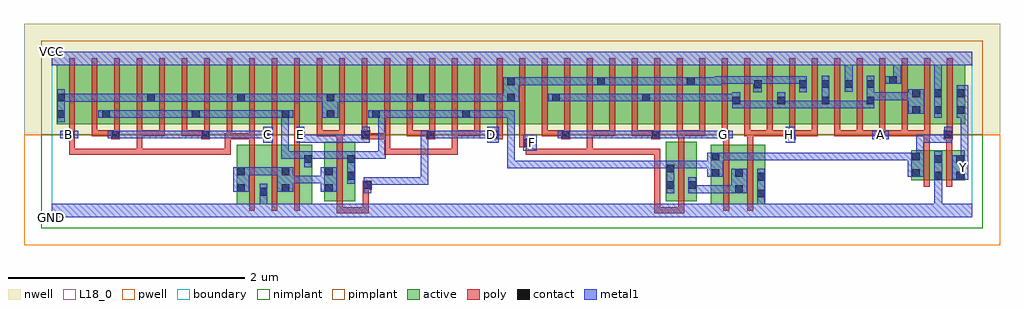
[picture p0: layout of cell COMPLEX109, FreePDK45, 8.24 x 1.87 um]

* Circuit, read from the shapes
.subckt COMPLEX109 A B C D E F G GND H VCC Y
M1 GND B n1 VSUBS nfet w=0.5u l=0.05u
M2 n1 C GND VSUBS nfet w=0.5u l=0.05u
M3 n2 E n1 VSUBS nfet w=0.5u l=0.05u
M4 n2 D n1 VSUBS nfet w=0.5u l=0.05u
M5 n3 F n2 VSUBS nfet w=0.5u l=0.05u
M6 n3 G n2 VSUBS nfet w=0.5u l=0.05u
M7 GND H n3 VSUBS nfet w=0.5u l=0.05u
M8 GND A n2 VSUBS nfet w=0.25u l=0.05u
M9 Y n2 GND VSUBS nfet w=0.25u l=0.05u
M10 n4 B n5 n6 pfet w=0.5u l=0.05u
M11 n2 C n4 n6 pfet w=0.5u l=0.05u
M12 n7 C n2 n6 pfet w=0.5u l=0.05u
M13 n5 B n7 n6 pfet w=0.5u l=0.05u
M14 n8 B n5 n6 pfet w=0.5u l=0.05u
M15 n2 C n8 n6 pfet w=0.5u l=0.05u
M16 n9 C n2 n6 pfet w=0.5u l=0.05u
M17 n5 B n9 n6 pfet w=0.5u l=0.05u
M18 n10 B n5 n6 pfet w=0.5u l=0.05u
M19 n2 C n10 n6 pfet w=0.5u l=0.05u
M20 n11 E n2 n6 pfet w=0.5u l=0.05u
M21 n5 D n11 n6 pfet w=0.5u l=0.05u
M22 n12 D n5 n6 pfet w=0.5u l=0.05u
M23 n2 E n12 n6 pfet w=0.5u l=0.05u
M24 n13 E n2 n6 pfet w=0.5u l=0.05u
M25 n5 D n13 n6 pfet w=0.5u l=0.05u
M26 n14 D n5 n6 pfet w=0.5u l=0.05u
M27 n2 E n14 n6 pfet w=0.5u l=0.05u
M28 n15 E n2 n6 pfet w=0.5u l=0.05u
M29 n5 D n15 n6 pfet w=0.5u l=0.05u
M30 n16 F n5 n6 pfet w=0.5u l=0.05u
M31 n17 G n16 n6 pfet w=0.5u l=0.05u
M32 n18 G n17 n6 pfet w=0.5u l=0.05u
M33 n5 F n18 n6 pfet w=0.5u l=0.05u
M34 n19 F n5 n6 pfet w=0.5u l=0.05u
M35 n17 G n19 n6 pfet w=0.5u l=0.05u
M36 n20 G n17 n6 pfet w=0.5u l=0.05u
M37 n5 F n20 n6 pfet w=0.5u l=0.05u
M38 n21 F n5 n6 pfet w=0.5u l=0.05u
M39 n17 G n21 n6 pfet w=0.5u l=0.05u
M40 n5 H n17 n6 pfet w=0.5u l=0.05u m=4
M41 VCC A n17 n6 pfet w=0.5u l=0.05u m=5
M42 Y n2 VCC n6 pfet w=0.5u l=0.05u
.ends

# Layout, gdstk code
import gdstk
lib = gdstk.Library(unit=1e-6, precision=1e-09)
def R(c, l, rs):  # rectangles x0, y0, x1, y1
    for r in rs: c.add(gdstk.rectangle(r[:2], r[2:], *l))
def A(c, l, x, y, w, h, nx, ny, dx, dy):  # array of equal rectangles
    R(c, l, [(x+i*dx, y+j*dy, x+i*dx+w, y+j*dy+h) for i in range(nx) for j in range(ny)])
active = (1, 0)
pwell = (2, 0)
nwell = (3, 0)
nimplant = (4, 0)
pimplant = (5, 0)
poly = (9, 0)
contact = (10, 0)
metal1 = (11, 0)
L18_0 = (18, 0)
boundary = (235, 0)

complex109 = lib.new_cell('COMPLEX109')
A(complex109, active, 0.04, 0.787, 0.225, 0.5, 3, 1, 0.38, 0)
A(complex109, active, 2.7, 0.787, 0.075, 0.283, 5, 1, 0.76, 0)
A(complex109, active, 3.305, 0.787, 0.23, 0.5, 5, 1, 0.38, 0)
A(complex109, active, 3.46, 0.787, 0.225, 0.5, 5, 1, 0.38, 0)
A(complex109, active, 5.925, 0.787, 0.27, 0.5, 3, 1, 0.57, 0)
A(complex109, active, 6.12, 0.787, 0.26, 0.5, 3, 1, 0.57, 0)
A(complex109, active, 6.305, 0.787, 0.265, 0.5, 3, 1, 0.57, 0)
R(complex109, active, [(1.56,0.112,1.825,0.612), (1.75,0.112,2.01,0.612), (1.935,0.112,2.2,0.612), (5.565,0.112,5.84,0.612), (5.765,0.112,6.025,0.612), (5.95,0.112,6.025,0.612), (2.302,0.137,2.562,0.637), (5.185,0.137,5.445,0.637), (1.56,0.145,1.635,0.612), (1.75,0.145,1.825,0.592), (1.935,0.145,2.01,0.592), (2.125,0.145,2.2,0.612), (2.302,0.145,2.377,0.637), (2.487,0.145,2.562,0.637), (5.185,0.145,5.26,0.637), (5.37,0.145,5.445,0.637), (5.565,0.145,5.64,0.612), (5.765,0.145,5.84,0.592), (7.257,0.315,7.332,0.565), (7.257,0.315,7.522,0.565), (7.447,0.315,7.522,0.565), (7.447,0.315,7.707,0.565), (7.632,0.315,7.707,0.565), (0.04,0.787,0.145,1.2), (0.265,0.787,0.495,1.287), (0.42,0.787,0.495,1.07), (0.645,0.787,0.875,1.287), (1.025,0.787,1.252,1.287), (1.177,0.787,1.252,1.07), (1.177,0.787,1.405,1.287), (1.405,0.787,1.635,1.287), (1.56,0.787,1.785,1.287), (1.785,0.787,2.01,1.287), (1.935,0.787,2.01,1.07), (1.935,0.787,2.165,1.287), (2.165,0.787,2.39,1.287), (2.315,0.787,2.39,1.2), (2.315,0.787,2.545,1.287), (2.545,0.787,2.775,1.287), (2.7,0.787,2.925,1.287), (2.925,0.787,3.15,1.287), (3.075,0.787,3.15,1.2), (3.075,0.787,3.305,1.287), (3.84,0.787,3.915,1.2), (4.6,0.787,4.675,1.2), (5.205,0.787,5.432,1.287), (5.357,0.787,5.432,1.2), (5.357,0.787,5.585,1.287), (5.585,0.787,5.815,1.287), (5.74,0.787,6,1.287), (5.925,0.787,6,1.2), (6.12,0.787,6.195,1.07), (6.305,0.787,6.38,1.2), (6.495,0.787,6.57,1.2), (6.69,0.787,6.765,1.255), (6.875,0.787,6.95,1.2), (7.065,0.787,7.14,1.255), (7.26,0.787,7.335,1.2), (7.445,0.787,7.52,1.255), (7.635,0.787,7.71,1.2), (0.8,0.807,0.875,1.2), (1.56,0.807,1.635,1.2)])
R(complex109, pwell, [(-0.235,-0.235,8.005,0.7)])
R(complex109, nwell, [(-0.235,0.7,8.005,1.635)])
R(complex109, nimplant, [(-0.09,-0.09,7.86,0.7)])
R(complex109, pimplant, [(-0.09,0.7,7.86,1.49)])
A(complex109, poly, 1.665, 0.057, 0.05, 0.61, 3, 1, 0.19, 0)
A(complex109, poly, 1.665, 0.617, 0.05, 0.095, 3, 1, 0.19, 0)
A(complex109, poly, 0.145, 0.687, 0.05, 0.095, 7, 1, 0.19, 0)
A(complex109, poly, 1.855, 0.687, 0.05, 0.095, 5, 1, 0.19, 0)
A(complex109, poly, 2.995, 0.687, 0.05, 0.095, 5, 1, 0.19, 0)
A(complex109, poly, 4.135, 0.687, 0.05, 0.095, 19, 1, 0.19, 0)
A(complex109, poly, 0.145, 0.732, 0.05, 0.61, 40, 1, 0.19, 0)
R(complex109, poly, [(2.407,0.037,2.457,0.132), (2.407,0.037,2.457,0.087), (2.407,0.037,2.677,0.087), (2.627,0.037,2.677,0.087), (2.627,0.037,2.677,0.087), (2.627,0.037,2.677,0.087), (2.627,0.037,2.677,0.087), (2.627,0.037,2.677,0.087), (2.627,0.037,2.677,0.285), (5.085,0.037,5.135,0.087), (5.085,0.037,5.34,0.087), (5.085,0.037,5.135,0.58), (5.29,0.037,5.34,0.132), (5.29,0.037,5.34,0.087), (5.29,0.037,5.34,0.087), (5.29,0.037,5.34,0.087), (5.67,0.057,5.72,0.667), (5.87,0.057,5.92,0.667), (2.407,0.082,2.457,0.692), (5.29,0.082,5.34,0.692), (2.627,0.235,2.702,0.31), (7.362,0.26,7.412,0.62), (7.552,0.26,7.602,0.62), (0.145,0.53,0.195,0.58), (0.145,0.53,0.195,0.58), (0.145,0.53,0.195,0.58), (0.145,0.53,0.327,0.58), (0.145,0.53,0.195,0.712), (0.277,0.53,0.327,0.58), (0.277,0.53,0.327,0.58), (0.277,0.53,0.327,0.58), (0.277,0.53,0.632,0.58), (0.582,0.53,0.632,0.58), (0.582,0.53,0.632,0.58), (0.582,0.53,0.632,0.58), (0.582,0.53,0.765,0.58), (0.715,0.53,0.765,0.58), (0.715,0.53,0.897,0.58), (0.715,0.53,0.765,0.737), (0.847,0.53,0.897,0.58), (0.847,0.53,0.897,0.58), (0.847,0.53,0.897,0.58), (0.847,0.53,1.087,0.58), (1.037,0.53,1.087,0.58), (1.037,0.53,1.087,0.58), (1.037,0.53,1.087,0.58), (1.037,0.53,1.375,0.58), (1.325,0.53,1.375,0.58), (1.325,0.53,1.375,0.58), (1.325,0.53,1.375,0.58), (1.325,0.53,1.51,0.58), (1.46,0.53,1.51,0.58), (1.46,0.53,1.51,0.58), (1.46,0.53,1.51,0.58), (1.46,0.53,1.51,0.712), (2.805,0.53,2.855,0.58), (2.805,0.53,3.045,0.58), (2.805,0.53,2.855,0.712), (2.995,0.53,3.045,0.58), (2.995,0.53,3.045,0.58), (2.995,0.53,3.045,0.58), (2.995,0.53,3.177,0.58), (3.127,0.53,3.177,0.58), (3.127,0.53,3.177,0.58), (3.127,0.53,3.177,0.58), (3.127,0.53,3.425,0.58), (3.375,0.53,3.425,0.58), (3.375,0.53,3.425,0.58), (3.375,0.53,3.425,0.58), (3.375,0.53,3.425,0.58), (3.375,0.53,3.425,0.58), (3.375,0.53,3.425,0.737), (4.002,0.53,4.052,0.58), (4.002,0.53,4.185,0.58), (4.002,0.53,4.052,0.642), (4.135,0.53,4.185,0.58), (4.135,0.53,4.185,0.58), (4.135,0.53,4.185,0.58), (4.135,0.53,4.432,0.58), (4.382,0.53,4.432,0.58), (4.382,0.53,4.432,0.58), (4.382,0.53,4.432,0.58), (4.382,0.53,4.565,0.58), (4.515,0.53,4.565,0.58), (4.515,0.53,4.565,0.58), (4.515,0.53,4.565,0.58), (4.515,0.53,4.565,0.58), (4.515,0.53,4.565,0.58), (4.515,0.53,4.755,0.58), (4.515,0.53,4.565,0.737), (4.705,0.53,4.755,0.58), (4.705,0.53,4.755,0.58), (4.705,0.53,4.755,0.58), (4.705,0.53,4.887,0.58), (4.837,0.53,4.887,0.58), (4.837,0.53,4.887,0.58), (4.837,0.53,4.887,0.58), (4.837,0.53,5.135,0.58), (5.085,0.53,5.135,0.58), (5.085,0.53,5.135,0.58), (5.085,0.53,5.135,0.58), (5.085,0.53,5.135,0.58), (5.085,0.53,5.135,0.58), (7.362,0.57,7.412,0.737), (7.552,0.57,7.602,0.712), (3.945,0.592,4.052,0.667), (4.002,0.592,4.052,0.642), (4.002,0.592,4.052,0.642), (3.945,0.617,3.995,0.782), (5.67,0.617,5.72,0.712), (5.87,0.617,5.92,0.737), (2.407,0.642,2.457,0.737), (5.29,0.642,5.34,0.737), (0.12,0.662,0.195,0.737), (0.145,0.662,0.195,0.712), (0.145,0.662,0.195,0.712), (0.5,0.662,0.575,0.737), (1.26,0.662,1.335,0.737), (1.46,0.662,1.51,0.712), (1.46,0.662,1.51,0.712), (1.46,0.662,1.525,0.712), (1.475,0.662,1.715,0.712), (1.475,0.662,1.525,0.782), (1.665,0.662,1.715,0.712), (1.665,0.662,1.715,0.712), (1.665,0.662,1.715,0.712), (1.665,0.662,1.715,0.782), (1.797,0.662,1.905,0.737), (2.045,0.662,2.137,0.737), (2.612,0.662,2.687,0.737), (2.637,0.662,2.855,0.712), (2.805,0.662,2.855,0.712), (2.805,0.662,2.855,0.712), (2.805,0.662,2.855,0.712), (2.805,0.662,2.855,0.712), (2.805,0.662,2.855,0.712), (2.805,0.662,2.855,0.782), (3.16,0.662,3.235,0.737), (3.702,0.662,3.805,0.737), (4.3,0.662,4.375,0.737), (5.06,0.662,5.135,0.737), (5.645,0.662,5.72,0.737), (6.205,0.662,6.28,0.737), (6.96,0.662,7.035,0.737), (7.53,0.662,7.605,0.737), (0.335,0.687,0.385,0.737), (0.335,0.687,0.385,0.737), (0.335,0.687,0.385,0.737), (0.335,0.687,0.55,0.737), (0.715,0.687,0.765,0.737), (0.715,0.687,0.765,0.737), (0.715,0.687,0.765,0.737), (0.715,0.687,0.955,0.737), (0.905,0.687,0.955,0.737), (0.905,0.687,0.955,0.737), (0.905,0.687,0.955,0.737), (1.095,0.687,1.145,0.737), (1.095,0.687,1.31,0.737), (1.26,0.687,1.31,0.737), (1.26,0.687,1.31,0.737), (2.235,0.687,2.285,0.737), (2.235,0.687,2.457,0.737), (2.407,0.687,2.457,0.737), (2.407,0.687,2.457,0.737), (2.407,0.687,2.475,0.737), (2.995,0.687,3.045,0.737), (2.995,0.687,3.21,0.737), (3.16,0.687,3.21,0.737), (3.16,0.687,3.21,0.737), (3.375,0.687,3.425,0.737), (3.375,0.687,3.615,0.737), (3.565,0.687,3.615,0.737), (3.565,0.687,3.615,0.737), (3.565,0.687,3.615,0.737), (4.135,0.687,4.185,0.737), (4.135,0.687,4.35,0.737), (4.3,0.687,4.35,0.737), (4.3,0.687,4.35,0.737), (4.515,0.687,4.565,0.737), (4.515,0.687,4.565,0.737), (4.515,0.687,4.565,0.737), (4.515,0.687,4.755,0.737), (4.705,0.687,4.755,0.737), (4.705,0.687,4.755,0.737), (4.705,0.687,4.755,0.737), (4.895,0.687,4.945,0.737), (4.895,0.687,5.11,0.737), (5.06,0.687,5.11,0.737), (5.06,0.687,5.11,0.737), (5.275,0.687,5.34,0.737), (5.29,0.687,5.515,0.737), (5.465,0.687,5.515,0.737), (5.465,0.687,5.515,0.737), (5.465,0.687,5.515,0.737), (5.845,0.687,5.92,0.737), (5.87,0.687,5.92,0.737), (5.87,0.687,5.92,0.737), (5.87,0.687,6.085,0.737), (6.035,0.687,6.085,0.737), (6.035,0.687,6.085,0.737), (6.035,0.687,6.085,0.737), (6.035,0.687,6.255,0.737), (6.23,0.687,6.28,0.737), (6.23,0.687,6.28,0.737), (6.23,0.687,6.465,0.737), (6.415,0.687,6.465,0.737), (6.605,0.687,6.655,0.737), (6.605,0.687,6.655,0.737), (6.605,0.687,6.655,0.737), (6.605,0.687,6.845,0.737), (6.795,0.687,6.845,0.737), (6.795,0.687,6.845,0.737), (6.795,0.687,6.845,0.737), (6.795,0.687,7.01,0.737), (6.985,0.687,7.225,0.737), (7.175,0.687,7.225,0.737), (7.175,0.687,7.225,0.737), (7.175,0.687,7.225,0.737), (7.175,0.687,7.412,0.737), (7.362,0.687,7.412,0.737), (7.362,0.687,7.412,0.737), (7.362,0.687,7.415,0.737)])
R(complex109, contact, [(5.955,0.17,6.02,0.235), (1.755,0.185,1.82,0.25), (5.77,0.205,5.835,0.27), (1.565,0.217,1.63,0.282), (1.94,0.217,2.005,0.282), (2.307,0.217,2.372,0.282), (2.632,0.24,2.697,0.305), (5.19,0.24,5.255,0.305), (5.375,0.24,5.44,0.305), (5.955,0.31,6.02,0.375), (2.492,0.32,2.557,0.385), (7.452,0.32,7.517,0.385), (7.637,0.32,7.702,0.385), (5.57,0.342,5.635,0.407), (7.262,0.342,7.327,0.407), (5.77,0.345,5.835,0.41), (1.565,0.357,1.63,0.422), (1.94,0.357,2.005,0.422), (2.307,0.357,2.372,0.422), (5.19,0.38,5.255,0.445), (2.13,0.46,2.195,0.525), (2.492,0.46,2.557,0.525), (7.452,0.46,7.517,0.525), (7.637,0.46,7.702,0.525), (5.57,0.482,5.635,0.547), (7.262,0.482,7.327,0.547), (3.982,0.597,4.047,0.662), (0.125,0.667,0.19,0.732), (0.505,0.667,0.57,0.732), (1.265,0.667,1.33,0.732), (1.802,0.667,1.867,0.732), (2.067,0.667,2.132,0.732), (2.617,0.667,2.682,0.732), (3.165,0.667,3.23,0.732), (3.707,0.667,3.772,0.732), (4.305,0.667,4.37,0.732), (5.065,0.667,5.13,0.732), (5.65,0.667,5.715,0.732), (6.21,0.667,6.275,0.732), (6.965,0.667,7.03,0.732), (7.535,0.667,7.6,0.732), (0.045,0.84,0.11,0.905), (0.425,0.84,0.49,0.905), (1.182,0.84,1.247,0.905), (1.94,0.84,2.005,0.905), (2.32,0.84,2.385,0.905), (2.705,0.84,2.77,0.905), (3.465,0.84,3.53,0.905), (7.265,0.875,7.33,0.94), (7.45,0.875,7.515,0.94), (7.64,0.875,7.705,0.94), (5.745,0.955,5.81,1.02), (6.125,0.955,6.19,1.02), (6.5,0.955,6.565,1.02), (6.88,0.955,6.945,1.02), (0.805,0.977,0.87,1.042), (1.565,0.977,1.63,1.042), (3.08,0.977,3.145,1.042), (3.845,0.977,3.91,1.042), (0.045,0.98,0.11,1.045), (2.32,0.98,2.385,1.045), (4.225,0.98,4.29,1.045), (4.985,0.98,5.05,1.045), (7.265,1.015,7.33,1.08), (7.45,1.015,7.515,1.08), (7.64,1.015,7.705,1.08), (5.93,1.092,5.995,1.157), (6.31,1.092,6.375,1.157), (6.5,1.095,6.565,1.16), (6.695,1.095,6.76,1.16), (6.88,1.095,6.945,1.16), (3.845,1.117,3.91,1.182), (4.605,1.117,4.67,1.182), (5.362,1.117,5.427,1.182), (7.07,1.127,7.135,1.192)])
A(complex109, metal1, 0.46, 0.84, 0.202, 0.065, 3, 1, 0.275, 0)
A(complex109, metal1, 1.217, 0.84, 0.203, 0.065, 3, 1, 0.275, 0)
R(complex109, metal1, [(0,0,7.77,0.115), (1.755,0.05,1.82,0.215), (5.955,0.05,6.02,0.2), (7.452,0.05,7.517,0.115), (7.452,0.05,7.517,0.115), (7.452,0.05,7.517,0.115), (7.452,0.05,7.517,0.115), (7.452,0.05,7.517,0.115), (7.452,0.05,7.517,0.115), (7.452,0.05,7.517,0.35), (5.955,0.135,6.02,0.2), (5.955,0.135,6.02,0.2), (5.955,0.135,6.02,0.41), (1.755,0.15,1.82,0.215), (1.755,0.15,1.82,0.215), (1.755,0.15,1.82,0.285), (2.632,0.205,2.697,0.34), (5.19,0.205,5.255,0.48), (5.375,0.205,5.44,0.27), (5.375,0.205,5.44,0.27), (5.375,0.205,5.44,0.34), (5.375,0.205,5.6,0.27), (5.535,0.205,5.6,0.27), (5.535,0.205,5.6,0.27), (5.535,0.205,5.6,0.27), (5.535,0.205,5.8,0.27), (5.735,0.205,5.87,0.41), (1.53,0.217,1.665,0.422), (1.905,0.217,2.04,0.422), (2.272,0.217,2.407,0.422), (2.632,0.275,2.697,0.34), (2.632,0.275,2.697,0.34), (2.632,0.275,2.697,0.34), (2.632,0.275,2.697,0.34), (2.632,0.275,2.837,0.34), (2.772,0.275,2.837,0.34), (2.772,0.275,2.957,0.34), (2.892,0.275,2.957,0.34), (2.892,0.275,3.057,0.34), (2.992,0.275,3.057,0.34), (2.992,0.275,3.18,0.34), (3.115,0.275,3.18,0.34), (3.115,0.275,3.18,0.732), (2.492,0.285,2.557,0.56), (7.452,0.285,7.517,0.56), (1.975,0.287,2.04,0.352), (1.975,0.287,2.04,0.352), (1.975,0.287,2.2,0.352), (2.135,0.287,2.2,0.352), (2.135,0.287,2.337,0.352), (2.272,0.287,2.337,0.352), (2.272,0.287,2.337,0.352), (7.602,0.32,7.737,0.525), (5.535,0.342,5.67,0.547), (7.227,0.342,7.362,0.547), (1.6,0.357,1.695,0.422), (1.63,0.357,1.695,0.422), (1.63,0.357,1.832,0.422), (1.767,0.357,1.832,0.422), (1.767,0.357,1.832,0.422), (1.767,0.357,1.832,0.422), (1.767,0.357,1.97,0.422), (3.845,0.415,3.91,0.48), (3.845,0.415,3.91,0.48), (3.845,0.415,3.91,0.48), (3.845,0.415,3.91,0.48), (3.845,0.415,3.91,0.48), (3.845,0.415,4.117,0.48), (3.845,0.415,3.91,0.905), (4.052,0.415,4.117,0.48), (4.052,0.415,4.117,0.48), (4.052,0.415,4.117,0.48), (4.052,0.415,4.325,0.48), (4.26,0.415,4.325,0.48), (4.26,0.415,4.325,0.48), (4.26,0.415,4.325,0.48), (4.26,0.415,4.497,0.48), (4.432,0.415,4.497,0.48), (4.432,0.415,4.635,0.48), (4.57,0.415,4.635,0.48), (4.57,0.415,4.635,0.48), (4.57,0.415,4.635,0.48), (4.57,0.415,4.772,0.48), (4.707,0.415,4.772,0.48), (4.707,0.415,4.842,0.48), (4.777,0.415,4.842,0.48), (4.777,0.415,4.947,0.48), (4.882,0.415,4.947,0.48), (4.882,0.415,5.085,0.48), (5.02,0.415,5.085,0.48), (5.02,0.415,5.085,0.48), (5.02,0.415,5.085,0.48), (5.02,0.415,5.255,0.48), (5.19,0.415,5.302,0.48), (5.237,0.415,5.302,0.48), (5.237,0.415,5.462,0.48), (5.397,0.415,5.462,0.48), (5.397,0.415,5.462,0.48), (5.397,0.415,5.462,0.48), (5.397,0.415,5.6,0.48), (2.13,0.425,2.195,0.56), (7.672,0.46,7.737,0.905), (5.605,0.482,5.67,0.547), (5.605,0.482,5.67,0.547), (5.605,0.482,5.807,0.547), (5.742,0.482,5.807,0.547), (5.742,0.482,5.987,0.547), (5.922,0.482,5.987,0.547), (5.922,0.482,5.987,0.547), (5.922,0.482,5.987,0.547), (5.922,0.482,6.125,0.547), (6.06,0.482,6.125,0.547), (6.06,0.482,6.157,0.547), (6.092,0.482,6.157,0.547), (6.092,0.482,6.29,0.547), (6.225,0.482,6.29,0.547), (6.225,0.482,6.427,0.547), (6.362,0.482,6.427,0.547), (6.362,0.482,6.427,0.547), (6.362,0.482,6.427,0.547), (6.362,0.482,6.565,0.547), (6.5,0.482,6.565,0.547), (6.5,0.482,6.565,0.547), (6.5,0.482,6.565,0.547), (6.5,0.482,6.702,0.547), (6.637,0.482,6.702,0.547), (6.637,0.482,6.702,0.547), (6.637,0.482,6.702,0.547), (6.637,0.482,6.962,0.547), (6.897,0.482,6.962,0.547), (6.897,0.482,6.962,0.547), (6.897,0.482,6.962,0.547), (6.897,0.482,7.155,0.547), (7.09,0.482,7.155,0.547), (7.09,0.482,7.292,0.547), (7.227,0.482,7.292,0.547), (7.227,0.482,7.292,0.547), (7.297,0.482,7.362,0.697), (1.935,0.495,2,0.56), (1.935,0.495,2,0.56), (1.935,0.495,2,0.56), (1.935,0.495,2,0.905), (1.935,0.495,2.195,0.56), (2.13,0.495,2.195,0.56), (2.13,0.495,2.195,0.56), (2.13,0.495,2.337,0.56), (2.272,0.495,2.337,0.56), (2.272,0.495,2.337,0.56), (2.272,0.495,2.337,0.56), (2.272,0.495,2.542,0.56), (2.477,0.495,2.542,0.56), (2.477,0.495,2.557,0.56), (2.492,0.495,2.68,0.56), (2.615,0.495,2.68,0.56), (2.615,0.495,2.82,0.56), (2.755,0.495,2.82,0.56), (2.755,0.495,2.82,0.905), (3.982,0.562,4.092,0.697), (1.787,0.632,1.867,0.767), (2.067,0.632,2.132,0.767), (2.067,0.632,2.177,0.697), (2.112,0.632,2.177,0.697), (2.112,0.632,2.35,0.697), (2.285,0.632,2.35,0.697), (2.285,0.632,2.35,0.697), (2.285,0.632,2.35,0.697), (2.285,0.632,2.487,0.697), (2.422,0.632,2.487,0.697), (2.422,0.632,2.56,0.697), (2.495,0.632,2.56,0.697), (2.495,0.632,2.682,0.697), (2.617,0.632,2.682,0.767), (3.677,0.632,3.772,0.767), (6.197,0.632,6.277,0.767), (7.297,0.632,7.362,0.697), (7.297,0.632,7.462,0.697), (7.397,0.632,7.462,0.697), (7.397,0.632,7.502,0.697), (7.437,0.632,7.502,0.697), (7.437,0.632,7.6,0.697), (7.535,0.632,7.6,0.767), (6.925,0.66,7.067,0.732), (0.07,0.667,0.225,0.732), (0.47,0.667,0.605,0.732), (0.54,0.667,0.662,0.732), (0.597,0.667,0.662,0.732), (0.597,0.667,0.8,0.732), (0.735,0.667,0.8,0.732), (0.735,0.667,0.8,0.732), (0.735,0.667,0.8,0.732), (0.735,0.667,0.937,0.732), (0.872,0.667,0.937,0.732), (0.872,0.667,1.075,0.732), (1.01,0.667,1.075,0.732), (1.01,0.667,1.075,0.732), (1.01,0.667,1.075,0.732), (1.01,0.667,1.282,0.732), (1.217,0.667,1.282,0.732), (1.217,0.667,1.295,0.732), (1.23,0.667,1.365,0.732), (1.3,0.667,1.42,0.732), (1.355,0.667,1.42,0.732), (1.355,0.667,1.557,0.732), (1.492,0.667,1.557,0.732), (1.492,0.667,1.557,0.732), (1.492,0.667,1.557,0.732), (1.492,0.667,1.695,0.732), (1.63,0.667,1.695,0.732), (1.63,0.667,1.832,0.732), (1.767,0.667,1.832,0.732), (1.767,0.667,1.852,0.732), (3.115,0.667,3.18,0.732), (3.115,0.667,3.18,0.732), (3.115,0.667,3.18,0.732), (3.115,0.667,3.195,0.732), (3.13,0.667,3.265,0.732), (3.2,0.667,3.325,0.732), (3.26,0.667,3.325,0.732), (3.26,0.667,3.462,0.732), (3.397,0.667,3.462,0.732), (3.397,0.667,3.6,0.732), (3.535,0.667,3.6,0.732), (3.535,0.667,3.6,0.732), (3.535,0.667,3.6,0.732), (3.535,0.667,3.737,0.732), (3.672,0.667,3.737,0.732), (3.672,0.667,3.742,0.732), (4.27,0.667,4.405,0.732), (4.34,0.667,4.497,0.732), (4.432,0.667,4.497,0.732), (4.432,0.667,4.635,0.732), (4.57,0.667,4.635,0.732), (4.57,0.667,4.635,0.732), (4.57,0.667,4.635,0.732), (4.57,0.667,4.772,0.732), (4.707,0.667,4.772,0.732), (4.707,0.667,4.877,0.732), (4.812,0.667,4.877,0.732), (4.812,0.667,4.947,0.732), (4.882,0.667,4.947,0.732), (4.882,0.667,5.095,0.732), (5.03,0.667,5.095,0.732), (5.03,0.667,5.095,0.732), (5.03,0.667,5.165,0.732), (5.1,0.667,5.255,0.732), (5.19,0.667,5.255,0.732), (5.19,0.667,5.302,0.732), (5.237,0.667,5.302,0.732), (5.237,0.667,5.462,0.732), (5.397,0.667,5.462,0.732), (5.397,0.667,5.462,0.732), (5.397,0.667,5.462,0.732), (5.397,0.667,5.662,0.732), (5.597,0.667,5.662,0.732), (5.597,0.667,5.667,0.732), (5.602,0.667,5.75,0.732), (0.045,0.805,0.11,1.08), (0.39,0.84,0.525,0.905), (0.46,0.84,0.525,0.905), (0.46,0.84,0.525,0.905), (0.597,0.84,0.662,0.905), (0.597,0.84,0.8,0.905), (0.735,0.84,0.8,0.905), (0.872,0.84,0.937,0.905), (0.872,0.84,0.937,0.905), (0.872,0.84,0.937,0.905), (0.872,0.84,1.075,0.905), (1.01,0.84,1.075,0.905), (1.01,0.84,1.075,0.905), (1.01,0.84,1.075,0.905), (1.147,0.84,1.282,0.905), (1.217,0.84,1.282,0.905), (1.217,0.84,1.282,0.905), (1.355,0.84,1.42,0.905), (1.355,0.84,1.557,0.905), (1.492,0.84,1.557,0.905), (1.492,0.84,1.557,0.905), (1.492,0.84,1.557,0.905), (1.63,0.84,1.695,0.905), (1.63,0.84,1.832,0.905), (1.767,0.84,1.832,0.905), (1.767,0.84,1.832,0.905), (1.767,0.84,1.832,0.905), (1.905,0.84,2.04,0.905), (1.935,0.84,2,0.905), (1.935,0.84,2,0.905), (2.285,0.84,2.42,1.045), (2.67,0.84,2.82,0.905), (2.755,0.84,2.82,0.905), (2.755,0.84,2.82,0.905), (2.755,0.84,2.835,0.905), (2.77,0.84,2.835,0.905), (2.77,0.84,2.957,0.905), (2.892,0.84,2.957,0.905), (2.892,0.84,3.057,0.905), (2.992,0.84,3.057,0.905), (2.992,0.84,3.11,0.905), (3.045,0.84,3.11,0.905), (3.045,0.84,3.317,0.905), (3.252,0.84,3.317,0.905), (3.252,0.84,3.317,0.905), (3.252,0.84,3.317,0.905), (3.252,0.84,3.462,0.905), (3.397,0.84,3.462,0.905), (3.397,0.84,3.495,0.905), (3.43,0.84,3.565,0.905), (3.5,0.84,3.6,0.905), (3.535,0.84,3.6,0.905), (3.535,0.84,3.737,0.905), (3.672,0.84,3.737,0.905), (3.672,0.84,3.737,0.905), (3.672,0.84,3.737,0.905), (3.672,0.84,3.91,0.905), (3.845,0.84,3.91,0.905), (7.45,0.84,7.515,1.115), (7.64,0.84,7.737,1.115), (7.672,0.84,7.737,0.905), (7.672,0.84,7.737,0.905), (7.672,0.84,7.737,0.905), (7.672,0.84,7.737,0.905), (7.23,0.875,7.365,1.08), (5.745,0.92,5.81,1.055), (5.745,0.92,5.947,0.985), (5.882,0.92,5.947,0.985), (5.882,0.92,5.947,0.985), (5.882,0.92,5.947,0.985), (5.882,0.92,6.125,0.985), (6.06,0.92,6.125,0.985), (6.06,0.92,6.19,0.985), (6.125,0.92,6.19,1.055), (6.125,0.92,6.262,0.985), (6.197,0.92,6.262,0.985), (6.197,0.92,6.427,0.985), (6.362,0.92,6.427,0.985), (6.362,0.92,6.427,0.985), (6.362,0.92,6.427,0.985), (6.362,0.92,6.565,0.985), (6.5,0.92,6.565,0.985), (6.5,0.92,6.565,0.985), (6.5,0.92,6.565,1.195), (6.5,0.92,6.807,0.985), (6.742,0.92,6.807,0.985), (6.742,0.92,6.807,0.985), (6.742,0.92,6.807,0.985), (6.742,0.92,6.945,0.985), (6.88,0.92,6.945,1.195), (0.045,0.977,0.11,1.042), (0.045,0.977,0.11,1.042), (0.045,0.977,0.247,1.042), (0.182,0.977,0.247,1.042), (0.182,0.977,0.247,1.042), (0.182,0.977,0.247,1.042), (0.182,0.977,0.385,1.042), (0.32,0.977,0.385,1.042), (0.32,0.977,0.385,1.042), (0.32,0.977,0.385,1.042), (0.32,0.977,0.662,1.042), (0.597,0.977,0.662,1.042), (0.597,0.977,0.8,1.042), (0.735,0.977,0.8,1.042), (0.735,0.977,0.835,1.042), (0.77,0.977,0.905,1.042), (0.84,0.977,0.937,1.042), (0.872,0.977,0.937,1.042), (0.872,0.977,1.075,1.042), (1.01,0.977,1.075,1.042), (1.01,0.977,1.075,1.042), (1.01,0.977,1.075,1.042), (1.01,0.977,1.282,1.042), (1.217,0.977,1.282,1.042), (1.217,0.977,1.42,1.042), (1.355,0.977,1.42,1.042), (1.355,0.977,1.42,1.042), (1.355,0.977,1.42,1.042), (1.355,0.977,1.557,1.042), (1.492,0.977,1.557,1.042), (1.492,0.977,1.595,1.042), (1.53,0.977,1.665,1.042), (1.6,0.977,1.695,1.042), (1.63,0.977,1.695,1.042), (1.63,0.977,1.832,1.042), (1.767,0.977,1.832,1.042), (1.767,0.977,1.832,1.042), (1.767,0.977,1.832,1.042), (1.767,0.977,2.005,1.042), (1.94,0.977,2.005,1.042), (1.94,0.977,2.005,1.042), (1.94,0.977,2.005,1.042), (1.94,0.977,2.2,1.042), (2.135,0.977,2.2,1.042), (2.135,0.977,2.35,1.042), (2.285,0.977,2.35,1.042), (2.285,0.977,2.35,1.042), (2.355,0.977,2.487,1.042), (2.422,0.977,2.487,1.042), (2.422,0.977,2.56,1.042), (2.495,0.977,2.56,1.042), (2.495,0.977,2.697,1.042), (2.632,0.977,2.697,1.042), (2.632,0.977,2.697,1.042), (2.632,0.977,2.697,1.042), (2.632,0.977,2.92,1.042), (2.855,0.977,2.92,1.042), (2.855,0.977,2.972,1.042), (2.907,0.977,2.972,1.042), (2.907,0.977,3.057,1.042), (2.992,0.977,3.057,1.042), (2.992,0.977,3.11,1.042), (3.045,0.977,3.18,1.042), (3.115,0.977,3.317,1.042), (3.252,0.977,3.317,1.042), (3.252,0.977,3.317,1.042), (3.252,0.977,3.317,1.042), (3.252,0.977,3.462,1.042), (3.397,0.977,3.462,1.042), (3.397,0.977,3.462,1.042), (3.397,0.977,3.462,1.042), (3.397,0.977,3.6,1.042), (3.535,0.977,3.6,1.042), (3.535,0.977,3.737,1.042), (3.672,0.977,3.737,1.042), (3.672,0.977,3.737,1.042), (3.672,0.977,3.737,1.042), (3.672,0.977,3.875,1.042), (3.81,0.977,3.945,1.182), (4.19,0.98,4.325,1.045), (4.26,0.98,4.462,1.045), (4.397,0.98,4.462,1.045), (4.397,0.98,4.462,1.045), (4.397,0.98,4.462,1.045), (4.397,0.98,4.635,1.045), (4.57,0.98,4.635,1.045), (4.57,0.98,4.635,1.045), (4.57,0.98,4.635,1.045), (4.57,0.98,4.772,1.045), (4.707,0.98,4.772,1.045), (4.707,0.98,4.842,1.045), (4.777,0.98,4.842,1.045), (4.777,0.98,4.947,1.045), (4.882,0.98,4.947,1.045), (4.882,0.98,5.015,1.045), (4.95,0.98,5.085,1.045), (5.02,0.98,5.085,1.045), (5.02,0.98,5.085,1.045), (5.02,0.98,5.255,1.045), (5.19,0.98,5.255,1.045), (5.19,0.98,5.302,1.045), (5.237,0.98,5.302,1.045), (5.237,0.98,5.44,1.045), (5.375,0.98,5.44,1.045), (5.375,0.98,5.44,1.045), (5.375,0.98,5.44,1.045), (5.375,0.98,5.662,1.045), (5.597,0.98,5.662,1.045), (5.597,0.98,5.662,1.045), (5.597,0.98,5.662,1.045), (5.597,0.98,5.81,1.045), (6.88,0.99,6.945,1.055), (6.88,0.99,6.945,1.055), (6.88,0.99,7.155,1.055), (7.09,0.99,7.155,1.055), (7.09,0.99,7.295,1.055), (7.23,0.99,7.295,1.055), (7.23,0.99,7.295,1.055), (7.45,1.05,7.515,1.35), (5.922,1.057,5.995,1.192), (6.31,1.057,6.375,1.192), (6.695,1.06,6.76,1.195), (3.88,1.117,3.945,1.182), (3.88,1.117,3.945,1.182), (3.88,1.117,4.117,1.182), (4.052,1.117,4.117,1.182), (4.052,1.117,4.117,1.182), (4.052,1.117,4.117,1.182), (4.052,1.117,4.255,1.182), (4.19,1.117,4.255,1.182), (4.19,1.117,4.255,1.182), (4.19,1.117,4.255,1.182), (4.19,1.117,4.462,1.182), (4.397,1.117,4.462,1.182), (4.397,1.117,4.635,1.182), (4.57,1.117,4.635,1.182), (4.57,1.117,4.635,1.182), (4.57,1.117,4.705,1.182), (4.64,1.117,4.81,1.182), (4.745,1.117,4.81,1.182), (4.745,1.117,4.842,1.182), (4.777,1.117,4.842,1.182), (4.777,1.117,4.947,1.182), (4.882,1.117,4.947,1.182), (4.882,1.117,5.117,1.182), (5.052,1.117,5.117,1.182), (5.052,1.117,5.117,1.182), (5.052,1.117,5.117,1.182), (5.052,1.117,5.255,1.182), (5.19,1.117,5.255,1.182), (5.19,1.117,5.302,1.182), (5.237,1.117,5.302,1.182), (5.237,1.117,5.392,1.182), (5.327,1.117,5.462,1.182), (5.397,1.117,5.462,1.182), (5.397,1.117,5.462,1.182), (5.397,1.117,5.662,1.182), (5.597,1.117,5.662,1.192), (5.597,1.127,5.807,1.192), (5.742,1.127,5.807,1.192), (5.742,1.127,5.807,1.192), (5.742,1.127,5.807,1.192), (5.742,1.127,5.987,1.192), (5.922,1.127,5.987,1.192), (5.922,1.127,5.987,1.192), (5.93,1.127,6.125,1.192), (6.06,1.127,6.125,1.192), (6.06,1.127,6.237,1.192), (6.172,1.127,6.237,1.192), (6.172,1.127,6.262,1.192), (6.197,1.127,6.262,1.192), (6.197,1.127,6.375,1.192), (7.035,1.127,7.17,1.192), (7.105,1.127,7.17,1.35), (6.695,1.13,6.76,1.35), (0,1.285,7.77,1.4)])
R(complex109, L18_0, [(0,0,7.77,0.115), (1.755,0.05,1.82,0.215), (5.955,0.05,6.02,0.2), (7.452,0.05,7.517,0.115), (7.452,0.05,7.517,0.115), (7.452,0.05,7.517,0.115), (7.452,0.05,7.517,0.115), (7.452,0.05,7.517,0.115), (7.452,0.05,7.517,0.115), (7.452,0.05,7.517,0.35), (5.955,0.135,6.02,0.2), (5.955,0.135,6.02,0.2), (5.955,0.135,6.02,0.41), (1.755,0.15,1.82,0.215), (1.755,0.15,1.82,0.215), (1.755,0.15,1.82,0.285), (2.632,0.205,2.697,0.34), (2.632,0.275,2.697,0.34), (2.632,0.275,2.697,0.34), (2.632,0.275,2.697,0.34), (2.632,0.275,2.697,0.34), (2.632,0.275,2.837,0.34), (2.772,0.275,2.837,0.34), (2.772,0.275,2.957,0.34), (2.892,0.275,2.957,0.34), (2.892,0.275,3.057,0.34), (2.992,0.275,3.057,0.34), (2.992,0.275,3.18,0.34), (3.115,0.275,3.18,0.34), (3.115,0.275,3.18,0.732), (7.452,0.285,7.517,0.56), (7.602,0.32,7.737,0.525), (7.667,0.387,7.732,0.452), (7.672,0.46,7.737,0.905), (3.982,0.562,4.092,0.697), (4.027,0.597,4.092,0.662), (1.787,0.632,1.867,0.767), (2.067,0.632,2.132,0.767), (2.067,0.632,2.177,0.697), (2.112,0.632,2.177,0.697), (2.112,0.632,2.35,0.697), (2.285,0.632,2.35,0.697), (2.285,0.632,2.35,0.697), (2.285,0.632,2.35,0.697), (2.285,0.632,2.487,0.697), (2.422,0.632,2.487,0.697), (2.422,0.632,2.56,0.697), (2.495,0.632,2.56,0.697), (2.495,0.632,2.682,0.697), (2.617,0.632,2.682,0.767), (3.677,0.632,3.772,0.767), (6.197,0.632,6.277,0.767), (6.925,0.66,7.067,0.732), (0.07,0.667,0.225,0.732), (0.107,0.667,0.172,0.732), (0.47,0.667,0.605,0.732), (0.54,0.667,0.662,0.732), (0.597,0.667,0.662,0.732), (0.597,0.667,0.8,0.732), (0.735,0.667,0.8,0.732), (0.735,0.667,0.8,0.732), (0.735,0.667,0.8,0.732), (0.735,0.667,0.937,0.732), (0.872,0.667,0.937,0.732), (0.872,0.667,1.075,0.732), (1.01,0.667,1.075,0.732), (1.01,0.667,1.075,0.732), (1.01,0.667,1.075,0.732), (1.01,0.667,1.282,0.732), (1.217,0.667,1.282,0.732), (1.217,0.667,1.295,0.732), (1.23,0.667,1.365,0.732), (1.3,0.667,1.42,0.732), (1.355,0.667,1.42,0.732), (1.355,0.667,1.557,0.732), (1.492,0.667,1.557,0.732), (1.492,0.667,1.557,0.732), (1.492,0.667,1.557,0.732), (1.492,0.667,1.695,0.732), (1.63,0.667,1.695,0.732), (1.63,0.667,1.832,0.732), (1.767,0.667,1.832,0.732), (1.767,0.667,1.852,0.732), (1.787,0.667,1.852,0.732), (2.067,0.667,2.132,0.732), (3.115,0.667,3.18,0.732), (3.115,0.667,3.18,0.732), (3.115,0.667,3.18,0.732), (3.115,0.667,3.195,0.732), (3.13,0.667,3.265,0.732), (3.2,0.667,3.325,0.732), (3.26,0.667,3.325,0.732), (3.26,0.667,3.462,0.732), (3.397,0.667,3.462,0.732), (3.397,0.667,3.6,0.732), (3.535,0.667,3.6,0.732), (3.535,0.667,3.6,0.732), (3.535,0.667,3.6,0.732), (3.535,0.667,3.737,0.732), (3.672,0.667,3.737,0.732), (3.672,0.667,3.742,0.732), (3.677,0.667,3.742,0.732), (4.27,0.667,4.405,0.732), (4.34,0.667,4.497,0.732), (4.432,0.667,4.497,0.732), (4.432,0.667,4.635,0.732), (4.57,0.667,4.635,0.732), (4.57,0.667,4.635,0.732), (4.57,0.667,4.635,0.732), (4.57,0.667,4.772,0.732), (4.707,0.667,4.772,0.732), (4.707,0.667,4.877,0.732), (4.812,0.667,4.947,0.732), (4.812,0.667,4.877,0.732), (4.882,0.667,4.947,0.732), (4.882,0.667,5.095,0.732), (5.03,0.667,5.165,0.732), (5.03,0.667,5.095,0.732), (5.03,0.667,5.095,0.732), (5.1,0.667,5.255,0.732), (5.19,0.667,5.255,0.732), (5.19,0.667,5.302,0.732), (5.237,0.667,5.302,0.732), (5.237,0.667,5.462,0.732), (5.397,0.667,5.462,0.732), (5.397,0.667,5.462,0.732), (5.397,0.667,5.462,0.732), (5.397,0.667,5.662,0.732), (5.597,0.667,5.662,0.732), (5.597,0.667,5.667,0.732), (5.602,0.667,5.75,0.732), (5.637,0.667,5.702,0.732), (6.197,0.667,6.262,0.732), (6.967,0.667,7.032,0.732), (7.45,0.84,7.515,1.115), (7.64,0.84,7.737,1.115), (7.672,0.84,7.737,0.905), (7.672,0.84,7.737,0.905), (7.672,0.84,7.737,0.905), (7.672,0.84,7.737,0.905), (7.45,1.05,7.515,1.35), (6.695,1.06,6.76,1.195), (7.035,1.127,7.17,1.192), (7.105,1.127,7.17,1.35), (6.695,1.13,6.76,1.35), (0,1.285,7.77,1.4)])
R(complex109, boundary, [(0,0,7.77,1.4)])
complex109.add(gdstk.Label('A', (7,0.7), layer=11, texttype=0))
complex109.add(gdstk.Label('B', (0.14,0.7), layer=11, texttype=0))
complex109.add(gdstk.Label('C', (1.82,0.7), layer=11, texttype=0))
complex109.add(gdstk.Label('D', (3.71,0.7), layer=11, texttype=0))
complex109.add(gdstk.Label('E', (2.1,0.7), layer=11, texttype=0))
complex109.add(gdstk.Label('F', (4.06,0.63), layer=11, texttype=0))
complex109.add(gdstk.Label('G', (5.67,0.7), layer=11, texttype=0))
complex109.add(gdstk.Label('H', (6.23,0.7), layer=11, texttype=0))
complex109.add(gdstk.Label('Y', (7.7,0.42), layer=11, texttype=0))
complex109.add(gdstk.Label('VCC', (0,1.4), layer=11, texttype=0))
complex109.add(gdstk.Label('GND', (0,0), layer=11, texttype=0))

lib.write_gds('COMPLEX109.gds')
